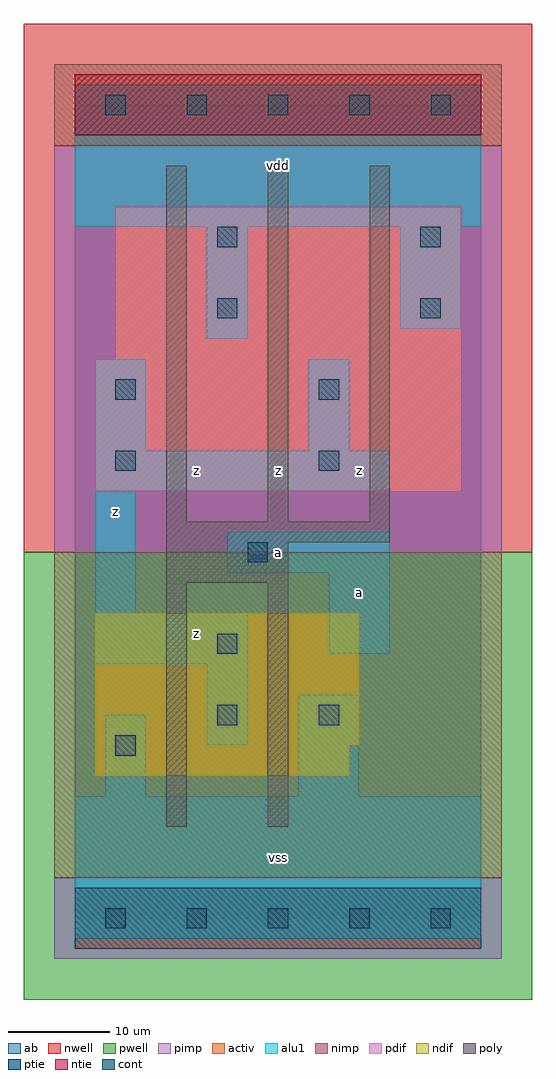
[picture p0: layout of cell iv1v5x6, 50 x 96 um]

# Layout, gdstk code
import gdstk
lib = gdstk.Library(unit=1e-6, precision=1e-09)
def R(c, l, rs):  # rectangles x0, y0, x1, y1
    for r in rs: c.add(gdstk.rectangle(r[:2], r[2:], *l))
def A(c, l, x, y, w, h, nx, ny, dx, dy):  # array of equal rectangles
    R(c, l, [(x+i*dx, y+j*dy, x+i*dx+w, y+j*dy+h) for i in range(nx) for j in range(ny)])
ndif = (3, 0)
pdif = (4, 0)
ntie = (5, 0)
ptie = (6, 0)
cont = (25, 0)
pwell = (41, 0)
nwell = (42, 0)
activ = (43, 0)
pimp = (44, 0)
nimp = (45, 0)
poly = (46, 0)
alu1 = (49, 0)
ab = (63, 0)

iv1v5x6 = lib.new_cell('iv1v5x6')
R(iv1v5x6, ndif, [(2,14,27,17), (2,17,28,30)])
R(iv1v5x6, pdif, [(2,42,38,55), (4,55,38,70)])
R(iv1v5x6, ntie, [(0,77,40,83)])
R(iv1v5x6, ptie, [(0,-3,40,3)])
A(iv1v5x6, cont, 3, -1, 2, 2, 5, 2, 8, 80)
R(iv1v5x6, cont, [(4,16,6,18), (14,19,16,21), (24,19,26,21), (14,26,16,28), (17,35,19,37), (4,44,6,46), (24,44,26,46), (4,51,6,53), (24,51,26,53), (14,59,16,61), (34,59,36,61), (14,66,16,68), (34,66,36,68)])
R(iv1v5x6, pwell, [(-5,-8,45,36)])
R(iv1v5x6, nwell, [(-5,36,45,88)])
R(iv1v5x6, activ, [(0,-3,40,3), (2,14,27,17), (2,17,28,30), (2,42,38,55), (4,55,38,70), (0,77,40,83)])
R(iv1v5x6, pimp, [(-2,-4,42,4), (-2,36,42,76)])
R(iv1v5x6, nimp, [(-2,4,42,36), (-2,76,42,84)])
A(iv1v5x6, poly, 9, 39, 2, 35, 3, 1, 10, 0)
R(iv1v5x6, poly, [(9,9,11,33), (19,9,21,33), (9,33,21,37), (9,37,31,39)])
R(iv1v5x6, alu1, [(0,-2,40,12), (3,12,7,20), (22,12,28,22), (13,17,17,25), (2,25,17,30), (25,26,31,34), (2,30,6,42), (15,34,31,38), (2,42,31,46), (2,46,7,55), (23,46,27,55), (13,57,17,68), (32,58,38,68), (0,68,40,82)])
R(iv1v5x6, ab, [(0,0,40,80)])
iv1v5x6.add(gdstk.Label('z', (4,40), layer=49, texttype=0))
iv1v5x6.add(gdstk.Label('z', (12,28), layer=49, texttype=0))
iv1v5x6.add(gdstk.Label('z', (12,44), layer=49, texttype=0))
iv1v5x6.add(gdstk.Label('vss', (20,6), layer=49, texttype=0))
iv1v5x6.add(gdstk.Label('a', (20,36), layer=49, texttype=0))
iv1v5x6.add(gdstk.Label('a', (28,32), layer=49, texttype=0))
iv1v5x6.add(gdstk.Label('z', (28,44), layer=49, texttype=0))
iv1v5x6.add(gdstk.Label('z', (20,44), layer=49, texttype=0))
iv1v5x6.add(gdstk.Label('vdd', (20,74), layer=49, texttype=0))

lib.write_gds('iv1v5x6.gds')
